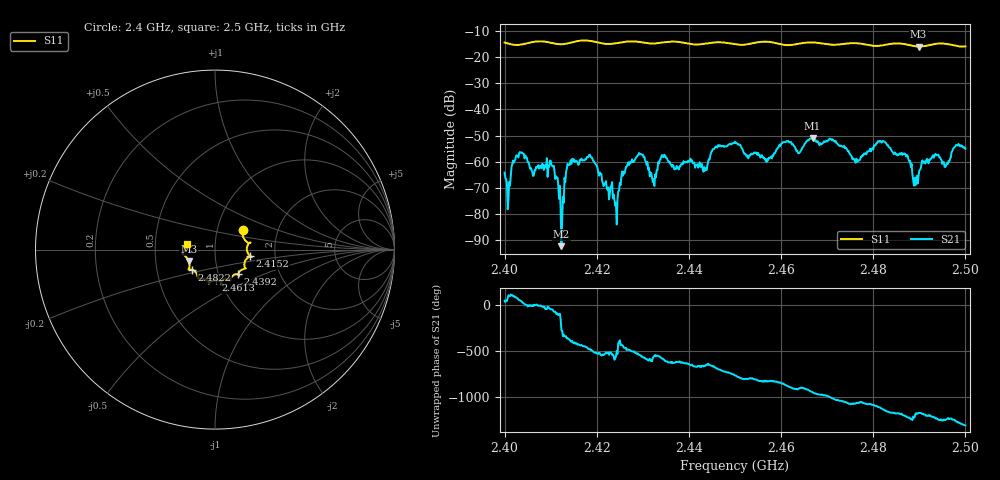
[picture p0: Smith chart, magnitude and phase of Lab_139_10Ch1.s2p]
# Hz S RI R 50
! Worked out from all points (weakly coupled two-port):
!   601 points, 2.4 GHz to 2.5 GHz, reference 50 ohm
!   highest |S21| = -50.98 dB at 2.4668 GHz (marker M1); lowest = -92.3 dB at 2.4123 GHz (marker M2)
!   lowest |S11| = -15.9 dB at 2.4898 GHz (marker M3), VSWR 1.38, Z = 37 - j5.03 ohm
!   |S11| at or under -10 dB: start of sweep to end of sweep
!   S12 and S22 are empty: the file has one direction only
!   S11 on the Smith chart (normalised r, x): 2.4 GHz: 1.33, +0.31; 2.4152 GHz: 1.48, -0.11; 2.4392 GHz: 1.24, -0.35; 2.4613 GHz: 0.96, -0.34; 2.4822 GHz: 0.76, -0.17; 2.5 GHz: 0.73, +0.05
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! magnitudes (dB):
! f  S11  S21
! 2.4 GHz  -14.4  -64.2
! 2.4008 GHz  -14.8  -74.3
! 2.4037 GHz  -15.1  -56.6
! 2.4102 GHz  -14.5  -61.3
! 2.4123 GHz  -15.0  -92.3
! 2.4152 GHz  -14.1  -60.1
! 2.4167 GHz  -13.6  -58.8
! 2.424 GHz  -14.7  -76.8
! 2.429 GHz  -14.1  -57.4
! 2.432 GHz  -14.7  -66.1
! 2.4333 GHz  -14.6  -60.2
! 2.4392 GHz  -14.5  -60.3
! 2.45 GHz  -15.0  -52.3
! 2.457 GHz  -14.1  -59.1
! 2.4613 GHz  -15.4  -52.2
! 2.4667 GHz  -14.3  -51.2
! 2.4668 GHz  -14.3  -51.0
! 2.4765 GHz  -14.6  -60.0
! 2.4822 GHz  -15.4  -52.3
! 2.4833 GHz  -15.0  -54.3
! 2.4898 GHz  -15.9  -65.4
! 2.5 GHz  -15.8  -55.1
